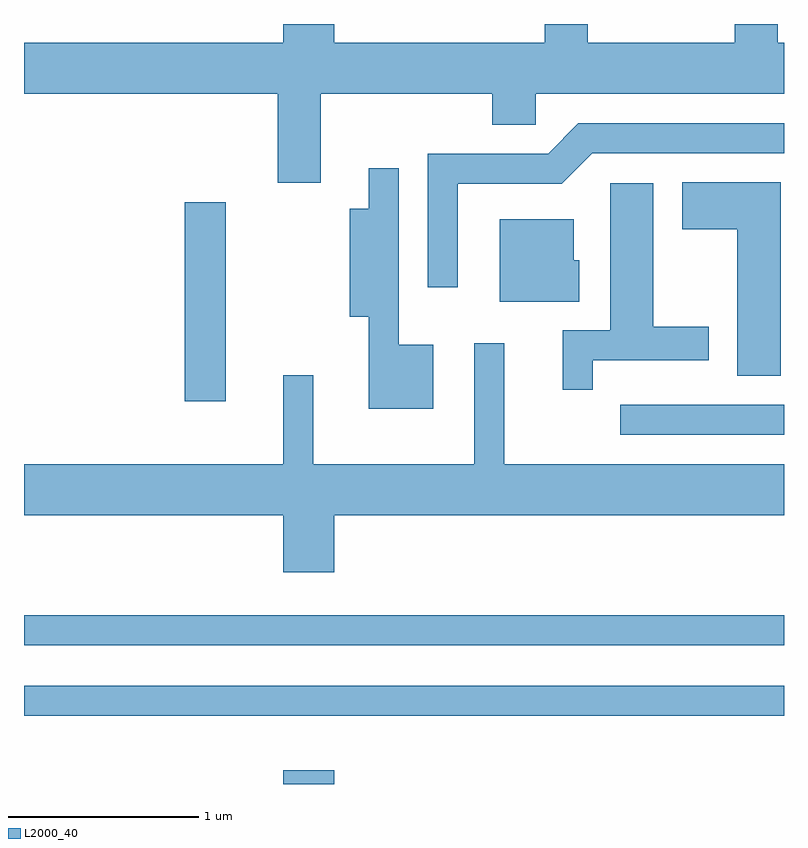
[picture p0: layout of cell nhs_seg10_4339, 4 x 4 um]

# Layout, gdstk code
import gdstk
lib = gdstk.Library(unit=1e-6, precision=1e-09)
def R(c, l, rs):  # rectangles x0, y0, x1, y1
    for r in rs: c.add(gdstk.rectangle(r[:2], r[2:], *l))
def P(c, l, *ps):  # polygons
    for p in ps: c.add(gdstk.Polygon(p, *l))
L2000_40 = (2000, 40)

nhs_seg10_4339 = lib.new_cell('nhs_seg10_4339')
R(nhs_seg10_4339, L2000_40, [(314.976,2092.522,315.244,2092.594), (313.611,2092.881,317.611,2093.039), (313.611,2093.251,317.611,2093.409), (316.748,2094.361,317.611,2094.519), (314.456,2094.536,314.674,2095.584)])
P(nhs_seg10_4339, L2000_40, [(315.174,2096.156),(316.076,2096.156),(316.076,2095.991),(316.304,2095.991),(316.304,2096.156),(317.611,2096.156),(317.611,2096.424),(317.579,2096.424),(317.579,2096.522),(317.351,2096.522),(317.351,2096.424),(316.579,2096.424),(316.579,2096.522),(316.351,2096.522),(316.351,2096.424),(315.244,2096.424),(315.244,2096.522),(314.976,2096.522),(314.976,2096.424),(313.611,2096.424),(313.611,2096.156),(314.946,2096.156),(314.946,2095.686),(315.174,2095.686)],
  [(315.894,2095.681),(316.442,2095.681),(316.602,2095.841),(317.611,2095.841),(317.611,2095.999),(316.529,2095.999),(316.369,2095.839),(315.736,2095.839),(315.736,2095.137),(315.894,2095.137)],
  [(315.764,2094.834),(315.584,2094.834),(315.584,2095.762),(315.426,2095.762),(315.426,2095.549),(315.326,2095.549),(315.326,2094.981),(315.426,2094.981),(315.426,2094.496),(315.764,2094.496)],
  [(317.594,2095.689),(317.076,2095.689),(317.076,2095.441),(317.366,2095.441),(317.366,2094.671),(317.594,2094.671)],
  [(316.604,2094.751),(317.214,2094.751),(317.214,2094.929),(316.924,2094.929),(316.924,2095.684),(316.696,2095.684),(316.696,2094.909),(316.446,2094.909),(316.446,2094.597),(316.604,2094.597)],
  [(316.534,2095.279),(316.504,2095.279),(316.504,2095.494),(316.116,2095.494),(316.116,2095.061),(316.534,2095.061)],
  [(315.244,2093.936),(317.611,2093.936),(317.611,2094.204),(316.139,2094.204),(316.139,2094.843),(315.981,2094.843),(315.981,2094.204),(315.134,2094.204),(315.134,2094.673),(314.976,2094.673),(314.976,2094.204),(313.611,2094.204),(313.611,2093.936),(314.976,2093.936),(314.976,2093.636),(315.244,2093.636)])

lib.write_gds('nhs_seg10_4339.gds')
